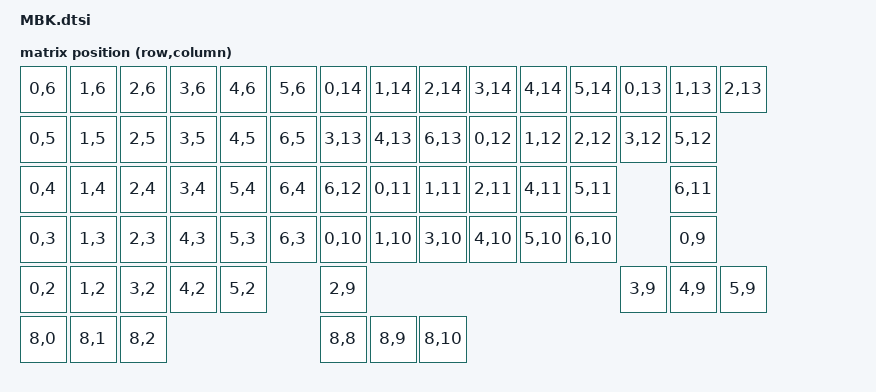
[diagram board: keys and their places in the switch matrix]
#include <dt-bindings/zmk/matrix_transform.h>
#include <behaviors/rgbled_widget.dtsi>

/ {
	default_transform: keymap_transform_0 {
		compatible = "zmk,matrix-transform";
		columns = <14>;
		rows = <9>;
		
		map = <
		RC(0,6)   RC(1,6)   RC(2,6)   RC(3,6)   RC(4,6)   RC(5,6)       RC(0,14)  RC(1,14)  RC(2,14)  RC(3,14)  RC(4,14)  RC(5,14)  RC(0,13)  RC(1,13) RC(2,13)
		RC(0,5)   RC(1,5)   RC(2,5)   RC(3,5)   RC(4,5)   RC(6,5)       RC(3,13)  RC(4,13)  RC(6,13)  RC(0,12)  RC(1,12)  RC(2,12)  RC(3,12)  RC(5,12)
		RC(0,4)   RC(1,4)   RC(2,4)   RC(3,4)   RC(5,4)   RC(6,4)       RC(6,12)  RC(0,11)  RC(1,11)  RC(2,11)  RC(4,11)  RC(5,11)            RC(6,11)
		RC(0,3)   RC(1,3)   RC(2,3)   RC(4,3)   RC(5,3)   RC(6,3)       RC(0,10)  RC(1,10)  RC(3,10)  RC(4,10)  RC(5,10)  RC(6,10)            RC(0,9)
		RC(0,2)   RC(1,2)   RC(3,2)   RC(4,2)   RC(5,2)                 RC(2,9)                                                     RC(3,9)   RC(4,9)  RC(5,9)
        RC(8,0)   RC(8,1)   RC(8,2)                                     RC(8,8)   RC(8,9)   RC(8,10)
		>;
	};

    aliases {
        led-red = &led0;
        led-green = &led1;
        led-blue = &led2;
    };

    leds {
        compatible = "gpio-leds";
        status = "okay";
        led0: led_0 {
            gpios = <&gpio0 26 GPIO_ACTIVE_LOW>;  // red LED, connected to P0.26
        };
        led1: led_1 {
            gpios = <&gpio0 30 GPIO_ACTIVE_LOW>;  // green LED, connected to P0.30
        };
        led2: led_2 {
            gpios = <&gpio0 6 GPIO_ACTIVE_LOW>;  // blue LED, connected to P0.06
        };
    };
};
